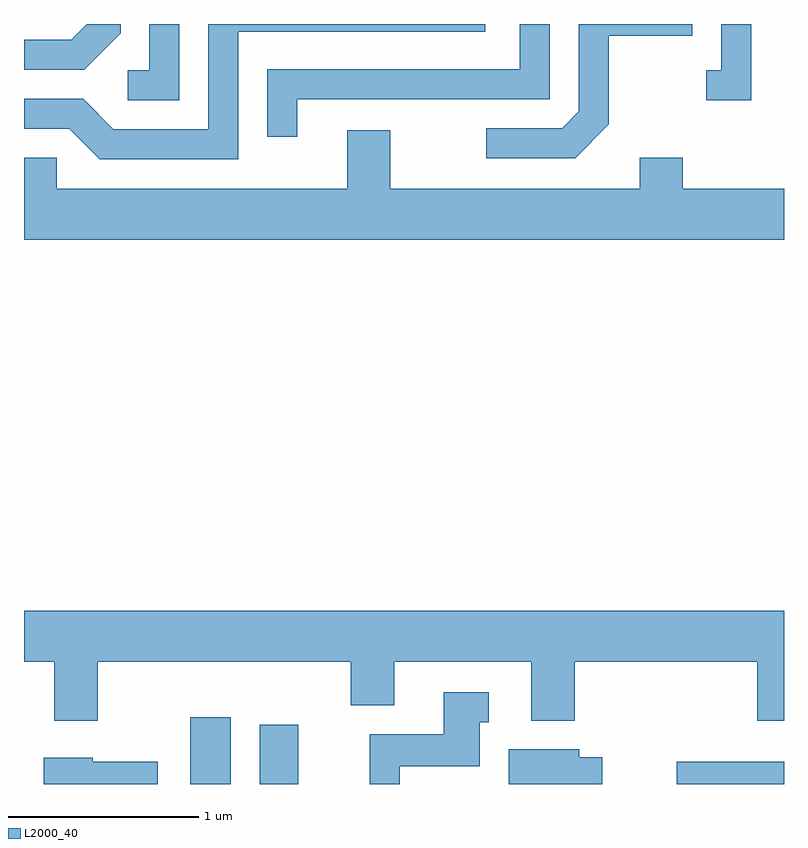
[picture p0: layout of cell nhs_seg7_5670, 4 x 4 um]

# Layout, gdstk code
import gdstk
lib = gdstk.Library(unit=1e-6, precision=1e-09)
def R(c, l, rs):  # rectangles x0, y0, x1, y1
    for r in rs: c.add(gdstk.rectangle(r[:2], r[2:], *l))
def P(c, l, *ps):  # polygons
    for p in ps: c.add(gdstk.Polygon(p, *l))
L2000_40 = (2000, 40)

nhs_seg7_5670 = lib.new_cell('nhs_seg7_5670')
R(nhs_seg7_5670, L2000_40, [(358.486,1800.252,358.699,1800.604), (358.851,1800.252,359.054,1800.564), (361.046,1800.252,361.611,1800.369)])
P(nhs_seg7_5670, L2000_40, [(358.119,1804.204),(358.119,1804.252),(357.941,1804.252),(357.859,1804.169),(357.611,1804.169),(357.611,1804.011),(357.927,1804.011)],
  [(358.429,1804.252),(358.271,1804.252),(358.271,1804.009),(358.158,1804.009),(358.158,1803.851),(358.429,1803.851)],
  [(359.049,1803.856),(360.379,1803.856),(360.379,1804.252),(360.221,1804.252),(360.221,1804.014),(358.891,1804.014),(358.891,1803.658),(359.049,1803.658)],
  [(360.689,1803.724),(360.689,1804.191),(361.129,1804.191),(361.129,1804.252),(360.531,1804.252),(360.531,1803.792),(360.444,1803.704),(360.043,1803.704),(360.043,1803.546),(360.512,1803.546)],
  [(358.739,1804.211),(360.039,1804.211),(360.039,1804.252),(358.581,1804.252),(358.581,1803.699),(358.082,1803.699),(357.922,1803.859),(357.611,1803.859),(357.611,1803.701),(357.849,1803.701),(358.009,1803.541),(358.739,1803.541)],
  [(361.439,1804.252),(361.281,1804.252),(361.281,1804.009),(361.203,1804.009),(361.203,1803.851),(361.439,1803.851)],
  [(361.611,1803.384),(361.079,1803.384),(361.079,1803.549),(360.851,1803.549),(360.851,1803.384),(359.539,1803.384),(359.539,1803.694),(359.311,1803.694),(359.311,1803.384),(357.784,1803.384),(357.784,1803.549),(357.611,1803.549),(357.611,1803.116),(361.611,1803.116)],
  [(357.999,1800.896),(359.331,1800.896),(359.331,1800.666),(359.559,1800.666),(359.559,1800.896),(360.281,1800.896),(360.281,1800.586),(360.509,1800.586),(360.509,1800.896),(361.471,1800.896),(361.471,1800.586),(361.611,1800.586),(361.611,1801.164),(357.611,1801.164),(357.611,1800.896),(357.771,1800.896),(357.771,1800.586),(357.999,1800.586)],
  [(359.589,1800.346),(360.009,1800.346),(360.009,1800.576),(360.058,1800.576),(360.058,1800.734),(359.821,1800.734),(359.821,1800.514),(359.431,1800.514),(359.431,1800.252),(359.589,1800.252)],
  [(360.654,1800.394),(360.534,1800.394),(360.534,1800.434),(360.161,1800.434),(360.161,1800.252),(360.654,1800.252)],
  [(358.314,1800.369),(357.974,1800.369),(357.974,1800.389),(357.716,1800.389),(357.716,1800.252),(358.314,1800.252)])

lib.write_gds('nhs_seg7_5670.gds')
